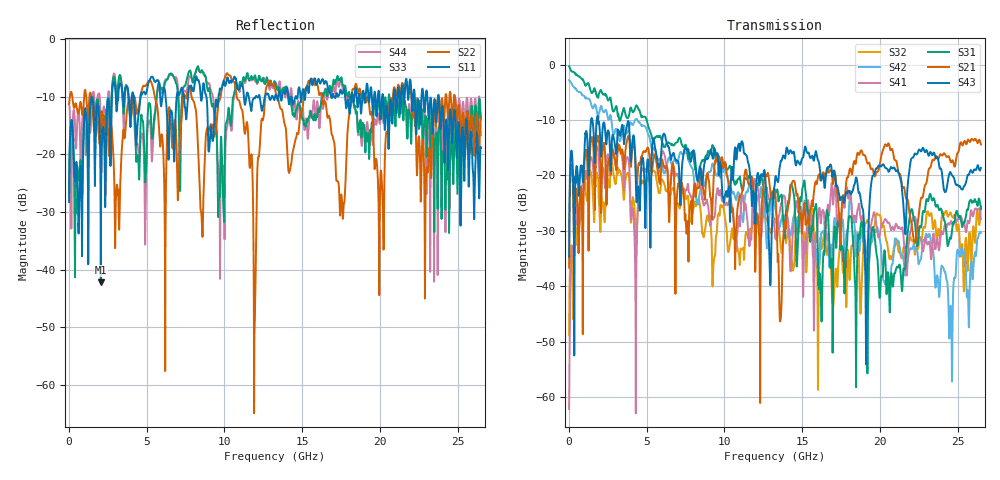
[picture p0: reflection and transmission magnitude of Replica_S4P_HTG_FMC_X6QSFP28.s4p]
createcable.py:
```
import numpy as np
import skrf as rf

# 1) Load the DUT (replica) once – scikit‑rf parses the file correctly
dut = rf.Network('Replica_S4P_HTG_FMC_X6QSFP28.s4p')
freq = dut.frequency            # <-- this is the authoritative grid

# 2) Build a zero‑valued 2‑port on exactly that grid
zeros = np.zeros((freq.npoints, 2, 2))       # shape: (f, nports, nports)
cable = rf.Network(frequency=freq, s=zeros, name='cable')

# 3) Save it
cable.write_touchstone('cable_new.s2p')
```
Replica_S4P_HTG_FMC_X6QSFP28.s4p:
!Keysight Technologies,N5222B,MY56022661,A.17.60.13
!Date: Sunday, September 29, 2024 10:35:28
!Correction: S11(C  4-Port  )
!S12(C  4-Port  )
!S13(C  4-Port  )
!S14(C  4-Port  )
!S21(C  4-Port  )
!S22(C  4-Port  )
!S23(C  4-Port  )
!S24(C  4-Port  )
!S31(C  4-Port  )
!S32(C  4-Port  )
!S33(C  4-Port  )
!S34(C  4-Port  )
!S41(C  4-Port  )
!S42(C  4-Port  )
!S43(C  4-Port  )
!S44(C  4-Port  )
!S4P File: Measurements: <S11,S12,S13,S14>,
!<S21,S22,S23,S24>,
!<S31,S32,S33,S34>,
!<S41,S42,S43,S44>:
# Hz S  dB  R 50
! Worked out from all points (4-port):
!   2650 points, 10 MHz to 26.5 GHz, reference 50 ohm
!   strongest paths, dB at 10 MHz, 6.63 GHz, 13.26 GHz, 19.88 GHz, 26.5 GHz:
!     S43: -34.7, -16.4, -20.8, -18.4, -18.7
!     S21: -36.6, -18.2, -22.9, -19.2, -14.4
!     S31: -0.3, -14.3, -23.4, -36.4, -26.1
!     S41: -62.2, -19.5, -31.2, -30.9, -27.9
!     S42: -2.8, -17.8, -25.7, -29.9, -30.3
!     S32: -48.8, -22.5, -28.3, -27.1, -25.7
!   lowest |S11| = -42.2 dB at 2.05 GHz (marker M1), VSWR 1.02, Z = 50.7 + j0.239 ohm
!   |S11| at or under -10 dB: start of sweep to 2.765 GHz; 8.841 GHz to 9.618 GHz (776.8 MHz wide, 8.42 % of centre); 23.8 GHz to end of sweep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
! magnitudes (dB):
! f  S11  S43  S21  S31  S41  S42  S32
! 10 MHz  -28.3  -34.7  -36.6  -0.3  -62.2  -2.8  -48.8
! 2.05 GHz  -42.2  -16.2  -24.9  -4.6  -25.1  -7.5  -28.1
! 26.5 GHz  -18.9  -18.7  -14.4  -26.1  -27.9  -30.3  -25.7
